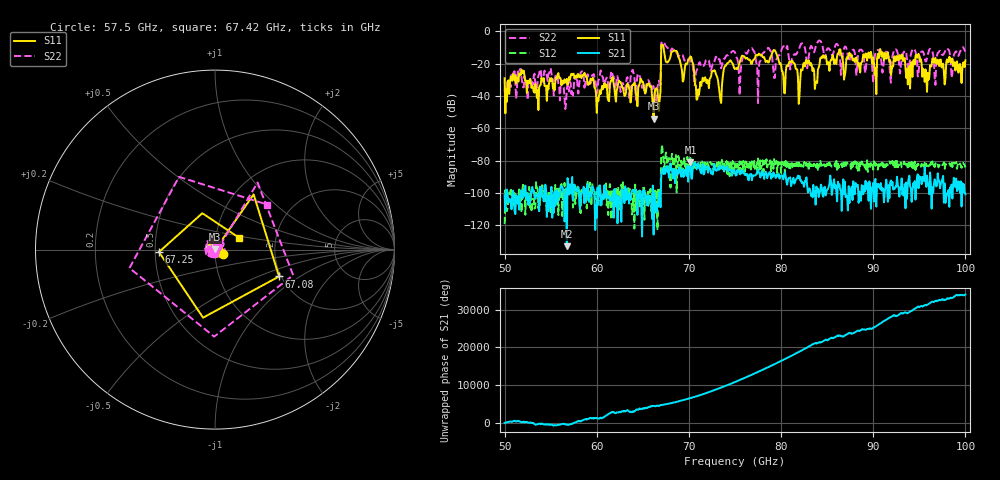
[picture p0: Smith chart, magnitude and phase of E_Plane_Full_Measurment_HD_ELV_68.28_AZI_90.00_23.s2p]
! 11/26/2026 3:26:33 PM
! C:\ANRITSUVNA\TEMP\TEMP.S2P
! CHANNEL.1
! TR.MEASUREMENT
! RAW.DATA
# HZ S RI R 50.0
! FREQ.HZ  S11RE  S11IM  S21RE  S21IM  S12RE  S12IM  S22RE  S22IM
!; PortSelection: Port_12
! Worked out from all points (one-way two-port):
!   601 points, 50 GHz to 100 GHz, reference 50 ohm
!   highest |S21| = -80.82 dB at 70.17 GHz (marker M1); lowest = -133.0 dB at 56.75 GHz (marker M2)
!   lowest |S11| = -54.0 dB at 66.17 GHz (marker M3), VSWR 1.00, Z = 50.1 + j0.143 ohm
!   |S11| at or under -10 dB: start of sweep to 67 GHz; 67.25 GHz to end of sweep
!   |S22| runs from -48.1 to -5.6 dB; largest |S21 - S12| = 0.0003
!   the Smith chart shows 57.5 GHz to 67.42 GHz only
!   S11 on the Smith chart (normalised r, x): 57.5 GHz: 1.09, -0.05; 67.08 GHz: 1.95, -0.69; 67.25 GHz: 0.52, -0.02; 67.42 GHz: 1.29, +0.18
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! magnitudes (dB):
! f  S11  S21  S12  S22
! 50 GHz  -29.0  -101.3  -119.3  -35.8
! 54.83 GHz  -31.7  -101.6  -100.0  -25.9
! 56.75 GHz  -29.4  -133.0  -99.2  -36.0
! 57.5 GHz  -26.2  -99.8  -98.2  -34.7
! 58.42 GHz  -27.2  -99.9  -98.1  -24.7
! 60.17 GHz  -43.0  -107.2  -98.1  -30.4
! 66.17 GHz  -54.0  -125.9  -100.3  -34.0
! 66.67 GHz  -41.5  -108.5  -96.8  -31.7
! 67.08 GHz  -8.2  -86.1  -70.1  -6.8
! 67.25 GHz  -10.1  -88.4  -80.7  -6.2
! 67.42 GHz  -16.6  -88.1  -79.1  -8.3
! 70.17 GHz  -15.5  -80.8  -78.3  -18.6
! 70.92 GHz  -42.0  -83.5  -82.4  -23.1
! 75 GHz  -23.3  -87.1  -81.0  -13.0
! 79.25 GHz  -11.5  -88.4  -79.1  -28.8
! 80.25 GHz  -27.9  -91.7  -82.8  -9.3
! 83.42 GHz  -24.5  -102.7  -84.7  -10.8
! 91.67 GHz  -16.8  -95.2  -80.7  -15.2
! 93.75 GHz  -32.9  -94.7  -84.8  -21.3
! 94.83 GHz  -15.0  -88.5  -82.0  -27.9
! 95.83 GHz  -37.4  -89.3  -83.4  -16.5
! 100 GHz  -17.9  -100.9  -84.2  -12.6
